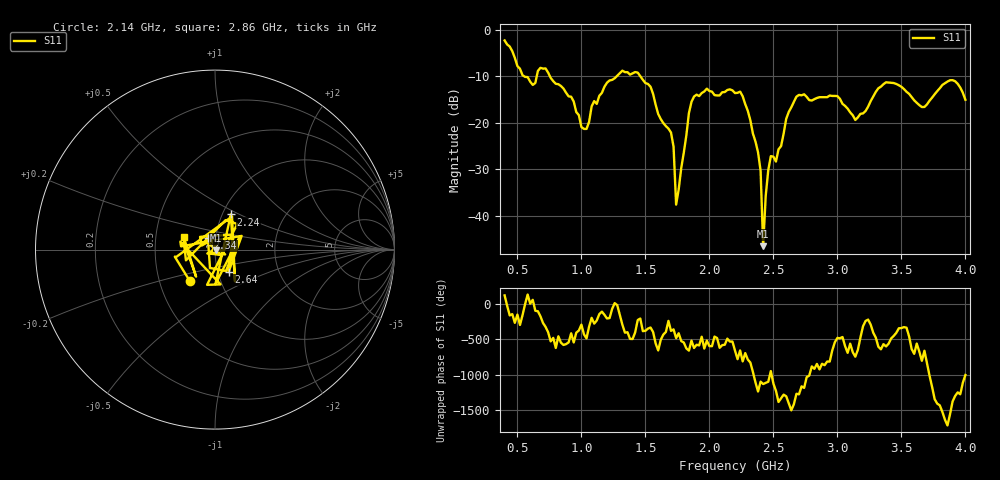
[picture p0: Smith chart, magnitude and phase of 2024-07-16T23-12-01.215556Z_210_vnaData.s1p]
!Created with skrf (http://scikit-rf.org).
# Hz S RI R 50.0
!freq ReS11 ImS11
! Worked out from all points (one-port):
!   181 points, 400 MHz to 4 GHz, reference 50 ohm
!   lowest |S11| = -46.6 dB at 2.42 GHz (marker M1), VSWR 1.01, Z = 50.3 - j0.352 ohm
!   |S11| at or under -10 dB: 550.1 MHz to 651.5 MHz (101.4 MHz wide, 16.9 % of centre); 753.1 MHz to 1.278 GHz (524.4 MHz wide, 51.6 % of centre); 1.459 GHz to end of sweep
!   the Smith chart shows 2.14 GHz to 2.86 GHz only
!   S11 on the Smith chart (normalised r, x): 2.14 GHz: 0.71, -0.26; 2.24 GHz: 1.10, +0.45; 2.34 GHz: 0.92, +0.12; 2.64 GHz: 1.12, -0.29; 2.86 GHz: 0.70, +0.10
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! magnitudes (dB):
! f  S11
! 400 MHz  -2.3
! 620 MHz  -11.9
! 680 MHz  -8.2
! 860 MHz  -12.7
! 1.04 GHz  -21.4
! 1.3 GHz  -9.4
! 1.54 GHz  -12.3
! 1.7 GHz  -22.1
! 1.72 GHz  -25.2
! 1.74 GHz  -37.6
! 1.76 GHz  -34.4
! 1.88 GHz  -14.4
! 2.14 GHz  -13.0
! 2.2 GHz  -13.7
! 2.24 GHz  -13.3
! 2.34 GHz  -22.4
! 2.4 GHz  -30.3
! 2.42 GHz  -46.6
! 2.44 GHz  -35.7
! 2.48 GHz  -27.2
! 2.64 GHz  -16.7
! 2.66 GHz  -15.5
! 2.86 GHz  -14.5
! 3.1 GHz  -17.8
! 3.38 GHz  -11.3
! 3.56 GHz  -13.8
! 3.9 GHz  -10.9
! 4 GHz  -15.1
